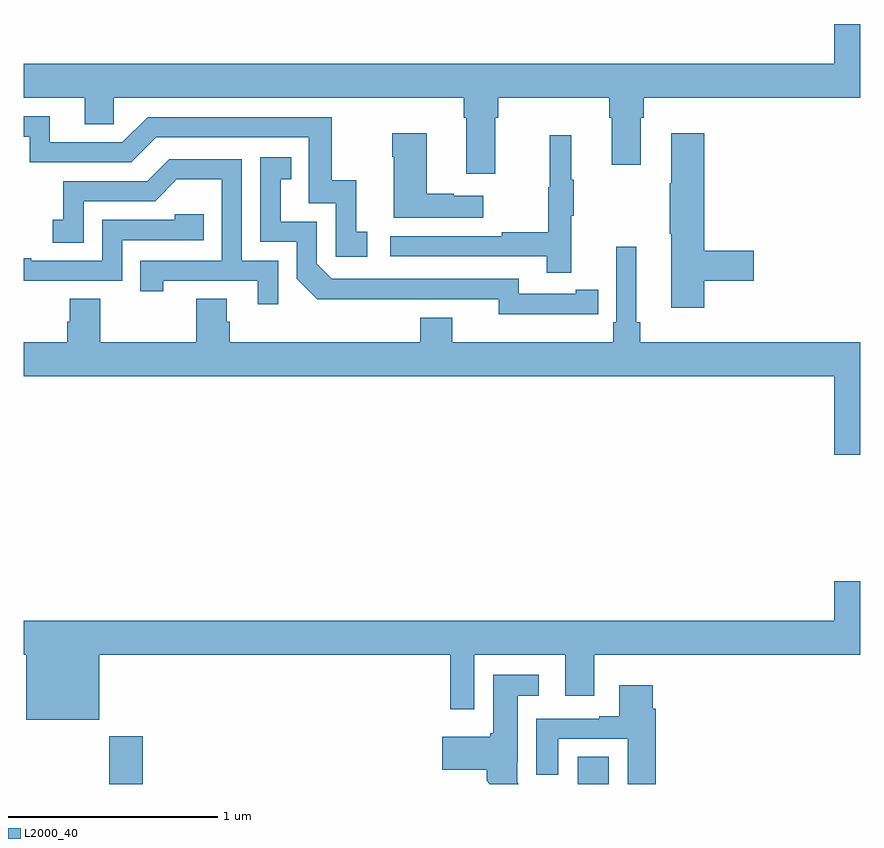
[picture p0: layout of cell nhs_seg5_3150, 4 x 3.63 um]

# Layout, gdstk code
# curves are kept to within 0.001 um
import gdstk
lib = gdstk.Library(unit=1e-6, precision=1e-09)
def R(c, l, rs):  # rectangles x0, y0, x1, y1
    for r in rs: c.add(gdstk.rectangle(r[:2], r[2:], *l))
def P(c, l, *ps):  # polygons
    for p in ps: c.add(gdstk.Polygon(p, *l))
L2000_40 = (2000, 40)

nhs_seg5_3150 = lib.new_cell('nhs_seg5_3150')
R(nhs_seg5_3150, L2000_40, [(293.41,866.799,293.57,867.028), (295.649,866.799,295.798,866.93)])
P(nhs_seg5_3150, L2000_40, [(295.255,869.984),(295.268,869.984),(295.268,870.08),(295.799,870.08),(295.799,869.984),(295.811,869.984),(295.811,869.76),(295.951,869.76),(295.951,869.984),(295.964,869.984),(295.964,870.08),(297,870.08),(297,870.433),(296.876,870.433),(296.876,870.244),(293,870.244),(293,870.08),(293.291,870.08),(293.291,869.953),(293.43,869.953),(293.43,870.08),(295.103,870.08),(295.103,869.984),(295.115,869.984),(295.115,869.718),(295.255,869.718)],
  [(294.643,869.439),(294.59,869.439),(294.59,869.686),(294.472,869.686),(294.472,869.988),(293.592,869.988),(293.472,869.868),(293.125,869.868),(293.125,869.991),(293,869.991),(293,869.895),(293.028,869.895),(293.028,869.772),(293.514,869.772),(293.634,869.892),(294.363,869.892),(294.363,869.577),(294.492,869.577),(294.492,869.319),(294.643,869.319)],
  [(296.255,869.206),(296.491,869.206),(296.491,869.348),(296.255,869.348),(296.255,869.911),(296.096,869.911),(296.096,869.672),(296.089,869.672),(296.089,869.431),(296.096,869.431),(296.096,869.076),(296.255,869.076)],
  [(295.198,869.611),(295.055,869.611),(295.055,869.621),(294.928,869.621),(294.928,869.911),(294.763,869.911),(294.763,869.798),(294.77,869.798),(294.77,869.507),(295.198,869.507)],
  [(295.619,869.515),(295.63,869.515),(295.63,869.689),(295.619,869.689),(295.619,869.902),(295.516,869.902),(295.516,869.652),(295.509,869.652),(295.509,869.438),(295.285,869.438),(295.285,869.418),(294.753,869.418),(294.753,869.322),(295.501,869.322),(295.501,869.244),(295.619,869.244)],
  [(295.64,869.046),(295.748,869.046),(295.748,869.162),(295.64,869.162),(295.64,869.142),(295.368,869.142),(295.368,869.214),(294.474,869.214),(294.402,869.286),(294.402,869.487),(294.229,869.487),(294.229,869.691),(294.278,869.691),(294.278,869.797),(294.132,869.797),(294.132,869.391),(294.306,869.391),(294.306,869.214),(294.404,869.117),(295.272,869.118),(295.272,869.045)],
  [(294.216,869.301),(294.042,869.301),(294.042,869.787),(293.696,869.787),(293.591,869.682),(293.188,869.682),(293.188,869.497),(293.139,869.497),(293.139,869.388),(293.286,869.388),(293.286,869.586),(293.628,869.586),(293.732,869.69),(293.946,869.69),(293.946,869.301),(293.557,869.301),(293.557,869.154),(293.668,869.154),(293.668,869.205),(294.119,869.205),(294.119,869.094),(294.216,869.094)],
  [(293.472,869.4),(293.861,869.4),(293.861,869.523),(293.721,869.523),(293.721,869.496),(293.376,869.496),(293.376,869.301),(293.035,869.301),(293.035,869.314),(293,869.314),(293,869.205),(293.472,869.205)],
  [(296.876,868.374),(297,868.374),(297,868.912),(295.949,868.912),(295.949,869.008),(295.93,869.008),(295.93,869.368),(295.833,869.368),(295.833,869.008),(295.82,869.008),(295.82,868.912),(295.048,868.912),(295.048,869.029),(294.896,869.029),(294.896,868.912),(293.984,868.912),(293.984,869.01),(293.971,869.01),(293.971,869.12),(293.824,869.12),(293.824,868.912),(293.367,868.912),(293.367,869.12),(293.219,869.12),(293.219,869.01),(293.207,869.01),(293.207,868.912),(293,868.912),(293,868.748),(296.876,868.748)],
  [(293.362,867.416),(295.039,867.416),(295.039,867.156),(295.155,867.156),(295.155,867.416),(295.589,867.416),(295.589,867.222),(295.729,867.222),(295.729,867.416),(297,867.416),(297,867.769),(296.876,867.769),(296.876,867.58),(293,867.58),(293,867.416),(293.012,867.416),(293.012,867.107),(293.362,867.107)],
  [(295.359,866.808),(295.359,866.902),(295.363,866.902),(295.363,867.221),(295.462,867.221),(295.462,867.322),(295.244,867.322),(295.244,867.042),(295.23,867.042),(295.23,867.025),(295.002,867.025),(295.002,866.867),(295.214,866.867),(295.214,866.814),(295.229,866.799),(295.368,866.799)],
  [(296.021,867.158),(296.008,867.158),(296.008,867.271),(295.847,867.271),(295.847,867.124),(295.751,867.124),(295.751,867.111),(295.451,867.111),(295.451,866.844),(295.555,866.844),(295.555,867.015),(295.889,867.015),(295.889,866.799),(296.021,866.799)])

lib.write_gds('nhs_seg5_3150.gds')
